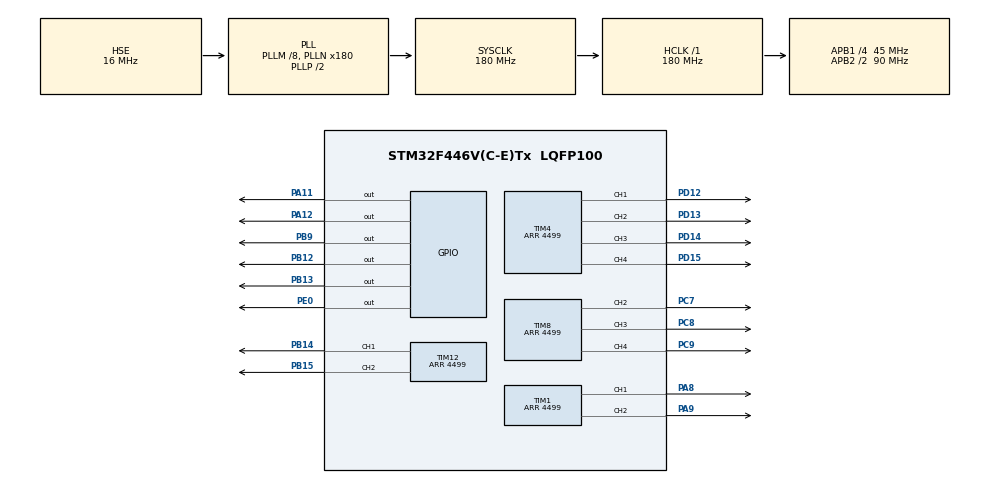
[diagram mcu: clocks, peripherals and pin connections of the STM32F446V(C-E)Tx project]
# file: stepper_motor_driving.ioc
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Mcu.Family=STM32F4
PH0-OSC_IN.Signal=RCC_OSC_IN
RCC.CortexFreq_Value=180000000
TIM12.Channel-PWM\ Generation2\ CH2=TIM_CHANNEL_2
TIM8.Channel-PWM\ Generation4\ CH4=TIM_CHANNEL_4
PB13.Signal=GPIO_Output
PB15.Signal=S_TIM12_CH2
RCC.SYSCLKSource=RCC_SYSCLKSOURCE_PLLCLK
ProjectManager.StackSize=0x400
PD13.Signal=S_TIM4_CH2
PA12.Signal=GPIO_Output
RCC.HCLKFreq_Value=180000000
RCC.APB2TimFreq_Value=180000000
PC7.Signal=S_TIM8_CH2
RCC.AHBFreq_Value=180000000
PH0-OSC_IN.Mode=HSE-External-Oscillator
RCC.HSE_VALUE=16000000
TIM4.Channel-PWM\ Generation3\ CH3=TIM_CHANNEL_3
TIM12.Period=4499
SH.S_TIM12_CH1.0=TIM12_CH1,PWM Generation1 CH1
TIM1.Channel-PWM\ Generation1\ CH1=TIM_CHANNEL_1
NVIC.TIM2_IRQn=true\:0\:0\:false\:false\:true\:true\:true
SH.S_TIM4_CH2.0=TIM4_CH2,PWM Generation2 CH2
PA8.Signal=S_TIM1_CH1
VP_TIM12_VS_ClockSourceINT.Mode=Internal
TIM4.Period=4499
VP_TIM1_VS_ClockSourceINT.Mode=Internal
PH1-OSC_OUT.Mode=HSE-External-Oscillator
PB9.Signal=GPIO_Output
Mcu.Package=LQFP100
TIM8.Channel-PWM\ Generation3\ CH3=TIM_CHANNEL_3
SH.S_TIM8_CH4.0=TIM8_CH4,PWM Generation4 CH4
PD12.Signal=S_TIM4_CH1
TIM8.Channel-PWM\ Generation2\ CH2=TIM_CHANNEL_2
SH.S_TIM12_CH2.0=TIM12_CH2,PWM Generation2 CH2
RCC.APB2CLKDivider=RCC_HCLK_DIV2
SH.S_TIM4_CH1.0=TIM4_CH1,PWM Generation1 CH1
RCC.APB1TimFreq_Value=90000000
TIM1.Period=4499
TIM4.Channel-PWM\ Generation4\ CH4=TIM_CHANNEL_4
PD15.Signal=S_TIM4_CH4
SH.S_TIM8_CH3.0=TIM8_CH3,PWM Generation3 CH3
RCC.PLLSourceVirtual=RCC_PLLSOURCE_HSE
TIM4.Channel-PWM\ Generation1\ CH1=TIM_CHANNEL_1
SH.S_TIM4_CH4.0=TIM4_CH4,PWM Generation4 CH4
PC8.Signal=S_TIM8_CH3
RCC.APB1CLKDivider=RCC_HCLK_DIV4
SH.S_TIM8_CH2.0=TIM8_CH2,PWM Generation2 CH2
SH.S_TIM1_CH1.0=TIM1_CH1,PWM Generation1 CH1
ProjectManager.TargetToolchain=EWARM V8.32
SH.S_TIM4_CH3.0=TIM4_CH3,PWM Generation3 CH3
PA9.Signal=S_TIM1_CH2
TIM1.Channel-PWM\ Generation2\ CH2=TIM_CHANNEL_2
VP_TIM8_VS_ClockSourceINT.Mode=Internal
RCC.USBFreq_Value=180000000
PB14.Signal=S_TIM12_CH1
board=custom
RCC.VCOOutputFreq_Value=360000000
TIM12.Channel-PWM\ Generation1\ CH1=TIM_CHANNEL_1
TIM4.Channel-PWM\ Generation2\ CH2=TIM_CHANNEL_2
RCC.APB2Freq_Value=90000000
VP_TIM2_VS_ClockSourceINT.Mode=Internal
SH.S_TIM1_CH2.0=TIM1_CH2,PWM Generation2 CH2
PH1-OSC_OUT.Signal=RCC_OSC_OUT
TIM2.Period=4499
Mcu.Name=STM32F446V(C-E)Tx
PE0.Signal=GPIO_Output
TIM8.Period=4499
PD14.Signal=S_TIM4_CH3
RCC.SYSCLKFreq_VALUE=180000000
PA11.Signal=GPIO_Output
ProjectManager.HeapSize=0x200
VP_TIM4_VS_ClockSourceINT.Mode=Internal
NVIC.PriorityGroup=NVIC_PRIORITYGROUP_4
RCC.PLLM=8
RCC.PLLN=180
PC9.Signal=S_TIM8_CH4
RCC.APB1Freq_Value=45000000
PB12.Signal=GPIO_Output

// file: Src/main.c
/* USER CODE BEGIN Header */
/**
  ******************************************************************************
  * @file           : main.c
  * @brief          : Main program body
  ******************************************************************************
  * @attention
  *
  * <h2><center>&copy; Copyright (c) 2020 STMicroelectronics.
  * All rights reserved.</center></h2>
  *
  * This software component is licensed by ST under BSD 3-Clause license,
  * the "License"; You may not use this file except in compliance with the
  * License. You may obtain a copy of the License at:
  *                        opensource.org/licenses/BSD-3-Clause
  *
  ******************************************************************************
  */
/* USER CODE END Header */

#include "main.h"

/* USER CODE BEGIN Includes */
#include "st5_driver/st5_driver.h"
/* USER CODE END Includes */

TIM_HandleTypeDef htim1;
TIM_HandleTypeDef htim2;
TIM_HandleTypeDef htim4;
TIM_HandleTypeDef htim8;
TIM_HandleTypeDef htim12;

void SystemClock_Config(void);
static void MX_GPIO_Init(void);
static void MX_TIM1_Init(void);
static void MX_TIM4_Init(void);
static void MX_TIM8_Init(void);
static void MX_TIM12_Init(void);
static void MX_TIM2_Init(void);

/* USER CODE BEGIN 0 */

#define ENABLE_GATE     HAL_GPIO_WritePin(GPIOA, GPIO_PIN_11, GPIO_PIN_SET)
#define DISABLE_GATE    HAL_GPIO_WritePin(GPIOA, GPIO_PIN_11, GPIO_PIN_RESET)

#define ENABLE_DC       HAL_GPIO_WritePin(GPIOB, GPIO_PIN_13, GPIO_PIN_SET)
#define DISABLE_DC      HAL_GPIO_WritePin(GPIOB, GPIO_PIN_13, GPIO_PIN_RESET)

#define ENABLE_ST2      HAL_GPIO_WritePin(GPIOB, GPIO_PIN_12, GPIO_PIN_SET)
#define DISABLE_ST2     HAL_GPIO_WritePin(GPIOB, GPIO_PIN_12, GPIO_PIN_RESET)

#define EANBLE_ST5      HAL_GPIO_WritePin(GPIOA, GPIO_PIN_12, GPIO_PIN_SET)
#define DISABLE_ST5     HAL_GPIO_WritePin(GPIOA, GPIO_PIN_12, GPIO_PIN_RESET)

float st5_pwmDuty[5];
void HAL_TIM_PeriodElapsedCallback(TIM_HandleTypeDef *htim){
  if(htim == &htim2){
    ST5_Loop();
    ST5_getPWM(st5_pwmDuty);

    TIM8->CCR4 = (uint16_t)(st5_pwmDuty[0] * TIM8->ARR);
    TIM8->CCR3 = (uint16_t)(st5_pwmDuty[1] * TIM8->ARR);
    TIM8->CCR2 = (uint16_t)(st5_pwmDuty[2] * TIM8->ARR);
    TIM1->CCR2 = (uint16_t)(st5_pwmDuty[3] * TIM1->ARR);
    TIM1->CCR1 = (uint16_t)(st5_pwmDuty[4] * TIM1->ARR);
  }
}
/* USER CODE END 0 */

int main(void)
{

  /* MCU Configuration--------------------------------------------------------*/

  /* Reset of all peripherals, Initializes the Flash interface and the Systick. */
  HAL_Init();

  /* Configure the system clock */
  SystemClock_Config();

  /* Initialize all configured peripherals */
  MX_GPIO_Init();
  MX_TIM1_Init();
  MX_TIM4_Init();
  MX_TIM8_Init();
  MX_TIM12_Init();
  MX_TIM2_Init();
  /* USER CODE BEGIN 2 */

  DISABLE_GATE;
  DISABLE_DC;
  DISABLE_ST2;
  DISABLE_ST5;

  HAL_TIM_PWM_Start(&htim12, TIM_CHANNEL_1);    // DC-
  HAL_TIM_PWM_Start(&htim12, TIM_CHANNEL_1);    // DC+

  HAL_TIM_PWM_Start(&htim4, TIM_CHANNEL_1);     // ST2 A+
  HAL_TIM_PWM_Start(&htim4, TIM_CHANNEL_3);     // ST2 B+
  HAL_TIM_PWM_Start(&htim4, TIM_CHANNEL_4);     // ST2 A-
  HAL_TIM_PWM_Start(&htim4, TIM_CHANNEL_2);     // ST2 B-

  HAL_TIM_PWM_Start(&htim1, TIM_CHANNEL_1);     // ST5 E
  HAL_TIM_PWM_Start(&htim1, TIM_CHANNEL_2);     // ST5 D
  HAL_TIM_PWM_Start(&htim8, TIM_CHANNEL_2);     // ST5 C
  HAL_TIM_PWM_Start(&htim8, TIM_CHANNEL_3);     // ST5 B
  HAL_TIM_PWM_Start(&htim8, TIM_CHANNEL_4);     // ST5 A

  ST5_Init(20000);

  ENABLE_GATE;
  ENABLE_DC;
  ENABLE_ST2;
  EANBLE_ST5;

  HAL_TIM_Base_Start_IT(&htim2); // 20kHz Interrupt

  /* USER CODE END 2 */

  /* Infinite loop */
  while (1)
  {

  }
}

void SystemClock_Config(void)
{
  RCC_OscInitTypeDef RCC_OscInitStruct = {0};
  RCC_ClkInitTypeDef RCC_ClkInitStruct = {0};

  /** Configure the main internal regulator output voltage
  */
  __HAL_RCC_PWR_CLK_ENABLE();
  __HAL_PWR_VOLTAGESCALING_CONFIG(PWR_REGULATOR_VOLTAGE_SCALE1);
  /** Initializes the CPU, AHB and APB busses clocks
  */
  RCC_OscInitStruct.OscillatorType = RCC_OSCILLATORTYPE_HSE;
  RCC_OscInitStruct.HSEState = RCC_HSE_ON;
  RCC_OscInitStruct.PLL.PLLState = RCC_PLL_ON;
  RCC_OscInitStruct.PLL.PLLSource = RCC_PLLSOURCE_HSE;
  RCC_OscInitStruct.PLL.PLLM = 8;
  RCC_OscInitStruct.PLL.PLLN = 180;
  RCC_OscInitStruct.PLL.PLLP = RCC_PLLP_DIV2;
  RCC_OscInitStruct.PLL.PLLQ = 2;
  RCC_OscInitStruct.PLL.PLLR = 2;
  if (HAL_RCC_OscConfig(&RCC_OscInitStruct) != HAL_OK)
  {
    Error_Handler();
  }
  /** Activate the Over-Drive mode
  */
  if (HAL_PWREx_EnableOverDrive() != HAL_OK)
  {
    Error_Handler();
  }
  /** Initializes the CPU, AHB and APB busses clocks
  */
  RCC_ClkInitStruct.ClockType = RCC_CLOCKTYPE_HCLK|RCC_CLOCKTYPE_SYSCLK
                              |RCC_CLOCKTYPE_PCLK1|RCC_CLOCKTYPE_PCLK2;
  RCC_ClkInitStruct.SYSCLKSource = RCC_SYSCLKSOURCE_PLLCLK;
  RCC_ClkInitStruct.AHBCLKDivider = RCC_SYSCLK_DIV1;
  RCC_ClkInitStruct.APB1CLKDivider = RCC_HCLK_DIV4;
  RCC_ClkInitStruct.APB2CLKDivider = RCC_HCLK_DIV2;

  if (HAL_RCC_ClockConfig(&RCC_ClkInitStruct, FLASH_LATENCY_5) != HAL_OK)
  {
    Error_Handler();
  }
}

static void MX_TIM1_Init(void)
{

  TIM_ClockConfigTypeDef sClockSourceConfig = {0};
  TIM_MasterConfigTypeDef sMasterConfig = {0};
  TIM_OC_InitTypeDef sConfigOC = {0};
  TIM_BreakDeadTimeConfigTypeDef sBreakDeadTimeConfig = {0};

  htim1.Instance = TIM1;
  htim1.Init.Prescaler = 0;
  htim1.Init.CounterMode = TIM_COUNTERMODE_UP;
  htim1.Init.Period = 4499;
  htim1.Init.ClockDivision = TIM_CLOCKDIVISION_DIV1;
  htim1.Init.RepetitionCounter = 0;
  htim1.Init.AutoReloadPreload = TIM_AUTORELOAD_PRELOAD_DISABLE;
  if (HAL_TIM_Base_Init(&htim1) != HAL_OK)
  {
    Error_Handler();
  }
  sClockSourceConfig.ClockSource = TIM_CLOCKSOURCE_INTERNAL;
  if (HAL_TIM_ConfigClockSource(&htim1, &sClockSourceConfig) != HAL_OK)
  {
    Error_Handler();
  }
  if (HAL_TIM_PWM_Init(&htim1) != HAL_OK)
  {
    Error_Handler();
  }
  sMasterConfig.MasterOutputTrigger = TIM_TRGO_RESET;
  sMasterConfig.MasterSlaveMode = TIM_MASTERSLAVEMODE_DISABLE;
  if (HAL_TIMEx_MasterConfigSynchronization(&htim1, &sMasterConfig) != HAL_OK)
  {
    Error_Handler();
  }
  sConfigOC.OCMode = TIM_OCMODE_PWM1;
  sConfigOC.Pulse = 0;
  sConfigOC.OCPolarity = TIM_OCPOLARITY_HIGH;
  sConfigOC.OCNPolarity = TIM_OCNPOLARITY_HIGH;
  sConfigOC.OCFastMode = TIM_OCFAST_DISABLE;
  sConfigOC.OCIdleState = TIM_OCIDLESTATE_RESET;
  sConfigOC.OCNIdleState = TIM_OCNIDLESTATE_RESET;
  if (HAL_TIM_PWM_ConfigChannel(&htim1, &sConfigOC, TIM_CHANNEL_1) != HAL_OK)
  {
    Error_Handler();
  }
  if (HAL_TIM_PWM_ConfigChannel(&htim1, &sConfigOC, TIM_CHANNEL_2) != HAL_OK)
  {
    Error_Handler();
  }
  sBreakDeadTimeConfig.OffStateRunMode = TIM_OSSR_DISABLE;
  sBreakDeadTimeConfig.OffStateIDLEMode = TIM_OSSI_DISABLE;
  sBreakDeadTimeConfig.LockLevel = TIM_LOCKLEVEL_OFF;
  sBreakDeadTimeConfig.DeadTime = 0;
  sBreakDeadTimeConfig.BreakState = TIM_BREAK_DISABLE;
  sBreakDeadTimeConfig.BreakPolarity = TIM_BREAKPOLARITY_HIGH;
  sBreakDeadTimeConfig.AutomaticOutput = TIM_AUTOMATICOUTPUT_DISABLE;
  if (HAL_TIMEx_ConfigBreakDeadTime(&htim1, &sBreakDeadTimeConfig) != HAL_OK)
  {
    Error_Handler();
  }
  HAL_TIM_MspPostInit(&htim1);

}

static void MX_TIM2_Init(void)
{

  TIM_ClockConfigTypeDef sClockSourceConfig = {0};
  TIM_MasterConfigTypeDef sMasterConfig = {0};

  htim2.Instance = TIM2;
  htim2.Init.Prescaler = 0;
  htim2.Init.CounterMode = TIM_COUNTERMODE_UP;
  htim2.Init.Period = 4499;
  htim2.Init.ClockDivision = TIM_CLOCKDIVISION_DIV1;
  htim2.Init.AutoReloadPreload = TIM_AUTORELOAD_PRELOAD_DISABLE;
  if (HAL_TIM_Base_Init(&htim2) != HAL_OK)
  {
    Error_Handler();
  }
  sClockSourceConfig.ClockSource = TIM_CLOCKSOURCE_INTERNAL;
  if (HAL_TIM_ConfigClockSource(&htim2, &sClockSourceConfig) != HAL_OK)
  {
    Error_Handler();
  }
  sMasterConfig.MasterOutputTrigger = TIM_TRGO_RESET;
  sMasterConfig.MasterSlaveMode = TIM_MASTERSLAVEMODE_DISABLE;
  if (HAL_TIMEx_MasterConfigSynchronization(&htim2, &sMasterConfig) != HAL_OK)
  {
    Error_Handler();
  }

}

static void MX_TIM4_Init(void)
{

  TIM_ClockConfigTypeDef sClockSourceConfig = {0};
  TIM_MasterConfigTypeDef sMasterConfig = {0};
  TIM_OC_InitTypeDef sConfigOC = {0};

  htim4.Instance = TIM4;
  htim4.Init.Prescaler = 0;
  htim4.Init.CounterMode = TIM_COUNTERMODE_UP;
  htim4.Init.Period = 4499;
  htim4.Init.ClockDivision = TIM_CLOCKDIVISION_DIV1;
  htim4.Init.AutoReloadPreload = TIM_AUTORELOAD_PRELOAD_DISABLE;
  if (HAL_TIM_Base_Init(&htim4) != HAL_OK)
  {
    Error_Handler();
  }
  sClockSourceConfig.ClockSource = TIM_CLOCKSOURCE_INTERNAL;
  if (HAL_TIM_ConfigClockSource(&htim4, &sClockSourceConfig) != HAL_OK)
  {
    Error_Handler();
  }
  if (HAL_TIM_PWM_Init(&htim4) != HAL_OK)
  {
    Error_Handler();
  }
  sMasterConfig.MasterOutputTrigger = TIM_TRGO_RESET;
  sMasterConfig.MasterSlaveMode = TIM_MASTERSLAVEMODE_DISABLE;
  if (HAL_TIMEx_MasterConfigSynchronization(&htim4, &sMasterConfig) != HAL_OK)
  {
    Error_Handler();
  }
  sConfigOC.OCMode = TIM_OCMODE_PWM1;
  sConfigOC.Pulse = 0;
  sConfigOC.OCPolarity = TIM_OCPOLARITY_HIGH;
  sConfigOC.OCFastMode = TIM_OCFAST_DISABLE;
  if (HAL_TIM_PWM_ConfigChannel(&htim4, &sConfigOC, TIM_CHANNEL_1) != HAL_OK)
  {
    Error_Handler();
  }
  if (HAL_TIM_PWM_ConfigChannel(&htim4, &sConfigOC, TIM_CHANNEL_2) != HAL_OK)
  {
    Error_Handler();
  }
  if (HAL_TIM_PWM_ConfigChannel(&htim4, &sConfigOC, TIM_CHANNEL_3) != HAL_OK)
  {
    Error_Handler();
  }
  if (HAL_TIM_PWM_ConfigChannel(&htim4, &sConfigOC, TIM_CHANNEL_4) != HAL_OK)
  {
    Error_Handler();
  }
  HAL_TIM_MspPostInit(&htim4);

}

static void MX_TIM8_Init(void)
{

  TIM_ClockConfigTypeDef sClockSourceConfig = {0};
  TIM_MasterConfigTypeDef sMasterConfig = {0};
  TIM_OC_InitTypeDef sConfigOC = {0};
  TIM_BreakDeadTimeConfigTypeDef sBreakDeadTimeConfig = {0};

  htim8.Instance = TIM8;
  htim8.Init.Prescaler = 0;
  htim8.Init.CounterMode = TIM_COUNTERMODE_UP;
  htim8.Init.Period = 4499;
  htim8.Init.ClockDivision = TIM_CLOCKDIVISION_DIV1;
  htim8.Init.RepetitionCounter = 0;
  htim8.Init.AutoReloadPreload = TIM_AUTORELOAD_PRELOAD_DISABLE;
  if (HAL_TIM_Base_Init(&htim8) != HAL_OK)
  {
    Error_Handler();
  }
  sClockSourceConfig.ClockSource = TIM_CLOCKSOURCE_INTERNAL;
  if (HAL_TIM_ConfigClockSource(&htim8, &sClockSourceConfig) != HAL_OK)
  {
    Error_Handler();
  }
  if (HAL_TIM_PWM_Init(&htim8) != HAL_OK)
  {
    Error_Handler();
  }
  sMasterConfig.MasterOutputTrigger = TIM_TRGO_RESET;
  sMasterConfig.MasterSlaveMode = TIM_MASTERSLAVEMODE_DISABLE;
  if (HAL_TIMEx_MasterConfigSynchronization(&htim8, &sMasterConfig) != HAL_OK)
  {
    Error_Handler();
  }
  sConfigOC.OCMode = TIM_OCMODE_PWM1;
  sConfigOC.Pulse = 0;
  sConfigOC.OCPolarity = TIM_OCPOLARITY_HIGH;
  sConfigOC.OCNPolarity = TIM_OCNPOLARITY_HIGH;
  sConfigOC.OCFastMode = TIM_OCFAST_DISABLE;
  sConfigOC.OCIdleState = TIM_OCIDLESTATE_RESET;
  sConfigOC.OCNIdleState = TIM_OCNIDLESTATE_RESET;
  if (HAL_TIM_PWM_ConfigChannel(&htim8, &sConfigOC, TIM_CHANNEL_2) != HAL_OK)
  {
    Error_Handler();
  }
  if (HAL_TIM_PWM_ConfigChannel(&htim8, &sConfigOC, TIM_CHANNEL_3) != HAL_OK)
  {
    Error_Handler();
  }
  if (HAL_TIM_PWM_ConfigChannel(&htim8, &sConfigOC, TIM_CHANNEL_4) != HAL_OK)
  {
    Error_Handler();
  }
  sBreakDeadTimeConfig.OffStateRunMode = TIM_OSSR_DISABLE;
  sBreakDeadTimeConfig.OffStateIDLEMode = TIM_OSSI_DISABLE;
  sBreakDeadTimeConfig.LockLevel = TIM_LOCKLEVEL_OFF;
  sBreakDeadTimeConfig.DeadTime = 0;
  sBreakDeadTimeConfig.BreakState = TIM_BREAK_DISABLE;
  sBreakDeadTimeConfig.BreakPolarity = TIM_BREAKPOLARITY_HIGH;
  sBreakDeadTimeConfig.AutomaticOutput = TIM_AUTOMATICOUTPUT_DISABLE;
  if (HAL_TIMEx_ConfigBreakDeadTime(&htim8, &sBreakDeadTimeConfig) != HAL_OK)
  {
    Error_Handler();
  }
  HAL_TIM_MspPostInit(&htim8);

}

static void MX_TIM12_Init(void)
{

  TIM_ClockConfigTypeDef sClockSourceConfig = {0};
  TIM_OC_InitTypeDef sConfigOC = {0};

  htim12.Instance = TIM12;
  htim12.Init.Prescaler = 2;
  htim12.Init.CounterMode = TIM_COUNTERMODE_UP;
  htim12.Init.Period = 4499;
  htim12.Init.ClockDivision = TIM_CLOCKDIVISION_DIV1;
  htim12.Init.AutoReloadPreload = TIM_AUTORELOAD_PRELOAD_DISABLE;
  if (HAL_TIM_Base_Init(&htim12) != HAL_OK)
  {
    Error_Handler();
  }
  sClockSourceConfig.ClockSource = TIM_CLOCKSOURCE_INTERNAL;
  if (HAL_TIM_ConfigClockSource(&htim12, &sClockSourceConfig) != HAL_OK)
  {
    Error_Handler();
  }
  if (HAL_TIM_PWM_Init(&htim12) != HAL_OK)
  {
    Error_Handler();
  }
  sConfigOC.OCMode = TIM_OCMODE_PWM1;
  sConfigOC.Pulse = 0;
  sConfigOC.OCPolarity = TIM_OCPOLARITY_HIGH;
  sConfigOC.OCFastMode = TIM_OCFAST_DISABLE;
  if (HAL_TIM_PWM_ConfigChannel(&htim12, &sConfigOC, TIM_CHANNEL_1) != HAL_OK)
  {
    Error_Handler();
  }
  if (HAL_TIM_PWM_ConfigChannel(&htim12, &sConfigOC, TIM_CHANNEL_2) != HAL_OK)
  {
    Error_Handler();
  }
  HAL_TIM_MspPostInit(&htim12);

}

static void MX_GPIO_Init(void)
{
  GPIO_InitTypeDef GPIO_InitStruct = {0};

  /* GPIO Ports Clock Enable */
  __HAL_RCC_GPIOH_CLK_ENABLE();
  __HAL_RCC_GPIOB_CLK_ENABLE();
  __HAL_RCC_GPIOD_CLK_ENABLE();
  __HAL_RCC_GPIOC_CLK_ENABLE();
  __HAL_RCC_GPIOA_CLK_ENABLE();
  __HAL_RCC_GPIOE_CLK_ENABLE();

  /*Configure GPIO pin Output Level */
  HAL_GPIO_WritePin(GPIOB, GPIO_PIN_12|GPIO_PIN_13|GPIO_PIN_9, GPIO_PIN_RESET);

  /*Configure GPIO pin Output Level */
  HAL_GPIO_WritePin(GPIOA, GPIO_PIN_11|GPIO_PIN_12, GPIO_PIN_RESET);

  /*Configure GPIO pin Output Level */
  HAL_GPIO_WritePin(GPIOE, GPIO_PIN_0, GPIO_PIN_RESET);

  /*Configure GPIO pins : PB12 PB13 PB9 */
  GPIO_InitStruct.Pin = GPIO_PIN_12|GPIO_PIN_13|GPIO_PIN_9;
  GPIO_InitStruct.Mode = GPIO_MODE_OUTPUT_PP;
  GPIO_InitStruct.Pull = GPIO_NOPULL;
  GPIO_InitStruct.Speed = GPIO_SPEED_FREQ_LOW;
  HAL_GPIO_Init(GPIOB, &GPIO_InitStruct);

  /*Configure GPIO pins : PA11 PA12 */
  GPIO_InitStruct.Pin = GPIO_PIN_11|GPIO_PIN_12;
  GPIO_InitStruct.Mode = GPIO_MODE_OUTPUT_PP;
  GPIO_InitStruct.Pull = GPIO_NOPULL;
  GPIO_InitStruct.Speed = GPIO_SPEED_FREQ_LOW;
  HAL_GPIO_Init(GPIOA, &GPIO_InitStruct);

  /*Configure GPIO pin : PE0 */
  GPIO_InitStruct.Pin = GPIO_PIN_0;
  GPIO_InitStruct.Mode = GPIO_MODE_OUTPUT_PP;
  GPIO_InitStruct.Pull = GPIO_NOPULL;
  GPIO_InitStruct.Speed = GPIO_SPEED_FREQ_LOW;
  HAL_GPIO_Init(GPIOE, &GPIO_InitStruct);

}

void Error_Handler(void)
{
}

/************************ (C) COPYRIGHT STMicroelectronics *****END OF FILE****/
